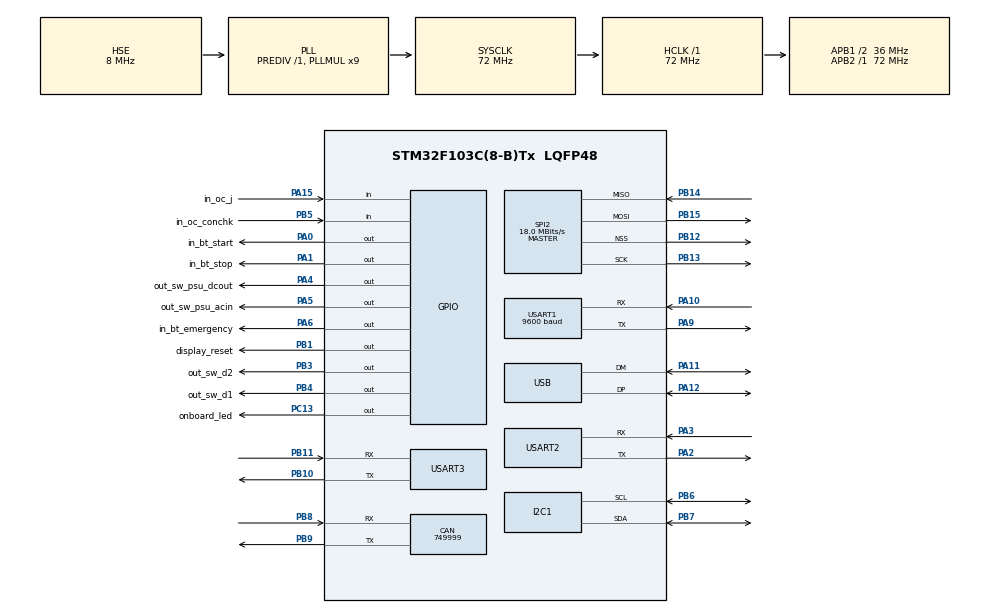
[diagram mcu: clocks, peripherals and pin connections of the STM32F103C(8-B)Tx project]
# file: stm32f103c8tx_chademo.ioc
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CAN.CalculateBaudRate=749999
CAN.CalculateTimeBit=1333
CAN.CalculateTimeQuantum=444.44444444444446
Mcu.Family=STM32F1
Mcu.Name=STM32F103C(8-B)Tx
Mcu.Package=LQFP48
NVIC.PriorityGroup=NVIC_PRIORITYGROUP_4
PA0-WKUP.GPIO_Label=in_bt_start
PA0-WKUP.Signal=GPIO_Output
PA1.GPIO_Label=in_bt_stop
PA1.Signal=GPIO_Output
PA10.GPIO_PuPd=GPIO_NOPULL
PA10.Mode=LIN
PA10.Signal=USART1_RX
PA11.Mode=Device
PA11.Signal=USB_DM
PA12.Mode=Device
PA12.Signal=USB_DP
PA13.Mode=Serial_Wire
PA13.Signal=SYS_JTMS-SWDIO
PA14.Mode=Serial_Wire
PA14.Signal=SYS_JTCK-SWCLK
PA15.GPIO_Label=in_oc_j
PA15.Signal=GPIO_Input
PA2.Mode=Asynchronous
PA2.Signal=USART2_TX
PA3.Mode=Asynchronous
PA3.Signal=USART2_RX
PA4.GPIO_Label=out_sw_psu_dcout
PA4.Signal=GPIO_Output
PA5.GPIO_Label=out_sw_psu_acin
PA5.Signal=GPIO_Output
PA6.GPIO_Label=in_bt_emergency
PA6.Signal=GPIO_Output
PA9.Mode=LIN
PA9.Signal=USART1_TX
PB1.GPIO_Label=display_reset
PB1.Signal=GPIO_Output
PB10.Mode=Asynchronous
PB10.Signal=USART3_TX
PB11.Mode=Asynchronous
PB11.Signal=USART3_RX
PB12.Mode=NSS_Signal_Hard_Output
PB12.Signal=SPI2_NSS
PB13.Mode=Full_Duplex_Master
PB13.Signal=SPI2_SCK
PB14.Mode=Full_Duplex_Master
PB14.Signal=SPI2_MISO
PB15.Mode=Full_Duplex_Master
PB15.Signal=SPI2_MOSI
PB3.GPIO_Label=out_sw_d2
PB3.Signal=GPIO_Output
PB4.GPIO_Label=out_sw_d1
PB4.Signal=GPIO_Output
PB5.GPIO_Label=in_oc_conchk
PB5.Signal=GPIO_Input
PB6.Mode=I2C
PB6.Signal=I2C1_SCL
PB7.Mode=I2C
PB7.Signal=I2C1_SDA
PB8.Mode=CAN_Activate
PB8.Signal=CAN_RX
PB9.Mode=CAN_Activate
PB9.Signal=CAN_TX
PC13-TAMPER-RTC.GPIO_Label=onboard_led
PC13-TAMPER-RTC.Signal=GPIO_Output
PD0-OSC_IN.Mode=HSE-External-Oscillator
PD0-OSC_IN.Signal=RCC_OSC_IN
PD1-OSC_OUT.Mode=HSE-External-Oscillator
PD1-OSC_OUT.Signal=RCC_OSC_OUT
ProjectManager.HeapSize=0x200
ProjectManager.StackSize=0x400
ProjectManager.TargetToolchain=Makefile
RCC.AHBFreq_Value=72000000
RCC.APB1CLKDivider=RCC_HCLK_DIV2
RCC.APB1Freq_Value=36000000
RCC.APB1TimFreq_Value=72000000
RCC.APB2Freq_Value=72000000
RCC.APB2TimFreq_Value=72000000
RCC.HCLKFreq_Value=72000000
RCC.PLLMUL=RCC_PLL_MUL9
RCC.PLLSourceVirtual=RCC_PLLSOURCE_HSE
RCC.SYSCLKFreq_VALUE=72000000
RCC.SYSCLKSource=RCC_SYSCLKSOURCE_PLLCLK
RCC.USBFreq_Value=48000000
RCC.USBPrescaler=RCC_USBCLKSOURCE_PLL_DIV1_5
SPI2.CalculateBaudRate=18.0 MBits/s
SPI2.Direction=SPI_DIRECTION_2LINES
SPI2.Mode=SPI_MODE_MASTER
SPI2.VirtualNSS=VM_NSSHARD
SPI2.VirtualType=VM_MASTER
USART1.BaudRate=9600
USART1.VirtualMode=VM_ASYNC
USART2.VirtualMode=VM_ASYNC
USART3.VirtualMode=VM_ASYNC
board=custom

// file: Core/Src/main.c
/* USER CODE BEGIN Header */
/**
  ******************************************************************************
  * @file           : main.c
  * @brief          : Main program body
  ******************************************************************************
  * @attention
  *
  * Copyright (c) 2025 STMicroelectronics.
  * All rights reserved.
  *
  * This software is licensed under terms that can be found in the LICENSE file
  * in the root directory of this software component.
  * If no LICENSE file comes with this software, it is provided AS-IS.
  *
  ******************************************************************************
  */
/* USER CODE END Header */
#include "main.h"

/* USER CODE BEGIN Includes */
#include <stdbool.h>
#include <stdio.h>

#include "SEGGER_RTT.h"
/* USER CODE END Includes */

CAN_HandleTypeDef hcan;

I2C_HandleTypeDef hi2c1;

SPI_HandleTypeDef hspi2;

UART_HandleTypeDef huart1;
UART_HandleTypeDef huart2;
UART_HandleTypeDef huart3;

PCD_HandleTypeDef hpcd_USB_FS;

void SystemClock_Config(void);
static void MX_GPIO_Init(void);
static void MX_USART1_UART_Init(void);
static void MX_USART2_UART_Init(void);
static void MX_I2C1_Init(void);
static void MX_USB_PCD_Init(void);
static void MX_CAN_Init(void);
static void MX_SPI2_Init(void);
static void MX_USART3_UART_Init(void);

int main(void)
{

  /* USER CODE BEGIN 1 */
  SEGGER_RTT_Init();
  /* USER CODE END 1 */

  /* MCU Configuration--------------------------------------------------------*/

  /* Reset of all peripherals, Initializes the Flash interface and the Systick. */
  HAL_Init();

  /* Configure the system clock */
  SystemClock_Config();

  /* Initialize all configured peripherals */
  MX_GPIO_Init();
  MX_USART1_UART_Init();
  MX_USART2_UART_Init();
  MX_I2C1_Init();
  MX_USB_PCD_Init();
  MX_CAN_Init();
  MX_SPI2_Init();
  MX_USART3_UART_Init();

  /* Infinite loop */
  /* USER CODE BEGIN WHILE */
  while (1)
  {
	static bool onbled = false;
	static uint16_t interval_1s = 0u;

	/*--- Time stuff begin ---*/
	static uint32_t prev_ms = 0u;
	uint32_t        cur_ms  = 0u;
	uint32_t        dt_ms   = 0u; /* Delta time */

	cur_ms = HAL_GetTick();
	dt_ms = cur_ms - prev_ms;
	prev_ms = cur_ms;
	/*--- Time stuff end ---*/

	/* --- exec with 1s interval begin --- */
	interval_1s += dt_ms;

	uint8_t c;

	if (HAL_UART_Receive(&huart1, &c, 1u, 0u) == HAL_OK) {
		putchar(c);
	}

	if (interval_1s >= 100u) {
		interval_1s = 0u;

		/*printf("Hello world! cur_ms: %lu, led: %s\n", cur_ms,
		       onbled ? "true" : "false");*/

		//HAL_GPIO_WritePin(onboard_led_GPIO_Port, onboard_led_Pin,
		//		  onbled ? GPIO_PIN_SET : GPIO_PIN_RESET);

		if(!__HAL_UART_GET_FLAG(&huart1, UART_FLAG_IDLE)) {
			ATOMIC_CLEAR_BIT(huart1.Instance->CR1, USART_CR1_RE); // Disable Receiver
			HAL_UART_Transmit(&huart1, "1234\n", 6u, 1000);
			while(__HAL_UART_GET_FLAG(&huart1, UART_FLAG_TC) == RESET); // Wait for physical end
			ATOMIC_SET_BIT(huart1.Instance->CR1, USART_CR1_RE); // Re-enable Receiver
			__HAL_UART_CLEAR_IDLEFLAG(&huart1);
		}

		onbled = !onbled;
	}
	/* --- exec with 1s interval end --- */

    /* USER CODE END WHILE */

  }
}

void SystemClock_Config(void)
{
  RCC_OscInitTypeDef RCC_OscInitStruct = {0};
  RCC_ClkInitTypeDef RCC_ClkInitStruct = {0};
  RCC_PeriphCLKInitTypeDef PeriphClkInit = {0};

  /** Initializes the RCC Oscillators according to the specified parameters
  * in the RCC_OscInitTypeDef structure.
  */
  RCC_OscInitStruct.OscillatorType = RCC_OSCILLATORTYPE_HSE;
  RCC_OscInitStruct.HSEState = RCC_HSE_ON;
  RCC_OscInitStruct.HSEPredivValue = RCC_HSE_PREDIV_DIV1;
  RCC_OscInitStruct.HSIState = RCC_HSI_ON;
  RCC_OscInitStruct.PLL.PLLState = RCC_PLL_ON;
  RCC_OscInitStruct.PLL.PLLSource = RCC_PLLSOURCE_HSE;
  RCC_OscInitStruct.PLL.PLLMUL = RCC_PLL_MUL9;
  if (HAL_RCC_OscConfig(&RCC_OscInitStruct) != HAL_OK)
  {
    Error_Handler();
  }

  /** Initializes the CPU, AHB and APB buses clocks
  */
  RCC_ClkInitStruct.ClockType = RCC_CLOCKTYPE_HCLK|RCC_CLOCKTYPE_SYSCLK
                              |RCC_CLOCKTYPE_PCLK1|RCC_CLOCKTYPE_PCLK2;
  RCC_ClkInitStruct.SYSCLKSource = RCC_SYSCLKSOURCE_PLLCLK;
  RCC_ClkInitStruct.AHBCLKDivider = RCC_SYSCLK_DIV1;
  RCC_ClkInitStruct.APB1CLKDivider = RCC_HCLK_DIV2;
  RCC_ClkInitStruct.APB2CLKDivider = RCC_HCLK_DIV1;

  if (HAL_RCC_ClockConfig(&RCC_ClkInitStruct, FLASH_LATENCY_2) != HAL_OK)
  {
    Error_Handler();
  }
  PeriphClkInit.PeriphClockSelection = RCC_PERIPHCLK_USB;
  PeriphClkInit.UsbClockSelection = RCC_USBCLKSOURCE_PLL_DIV1_5;
  if (HAL_RCCEx_PeriphCLKConfig(&PeriphClkInit) != HAL_OK)
  {
    Error_Handler();
  }
}

static void MX_CAN_Init(void)
{

  hcan.Instance = CAN1;
  hcan.Init.Prescaler = 16;
  hcan.Init.Mode = CAN_MODE_NORMAL;
  hcan.Init.SyncJumpWidth = CAN_SJW_1TQ;
  hcan.Init.TimeSeg1 = CAN_BS1_1TQ;
  hcan.Init.TimeSeg2 = CAN_BS2_1TQ;
  hcan.Init.TimeTriggeredMode = DISABLE;
  hcan.Init.AutoBusOff = DISABLE;
  hcan.Init.AutoWakeUp = DISABLE;
  hcan.Init.AutoRetransmission = DISABLE;
  hcan.Init.ReceiveFifoLocked = DISABLE;
  hcan.Init.TransmitFifoPriority = DISABLE;
  if (HAL_CAN_Init(&hcan) != HAL_OK)
  {
    Error_Handler();
  }

}

static void MX_I2C1_Init(void)
{

  hi2c1.Instance = I2C1;
  hi2c1.Init.ClockSpeed = 100000;
  hi2c1.Init.DutyCycle = I2C_DUTYCYCLE_2;
  hi2c1.Init.OwnAddress1 = 0;
  hi2c1.Init.AddressingMode = I2C_ADDRESSINGMODE_7BIT;
  hi2c1.Init.DualAddressMode = I2C_DUALADDRESS_DISABLE;
  hi2c1.Init.OwnAddress2 = 0;
  hi2c1.Init.GeneralCallMode = I2C_GENERALCALL_DISABLE;
  hi2c1.Init.NoStretchMode = I2C_NOSTRETCH_DISABLE;
  if (HAL_I2C_Init(&hi2c1) != HAL_OK)
  {
    Error_Handler();
  }

}

static void MX_SPI2_Init(void)
{

  /* SPI2 parameter configuration*/
  hspi2.Instance = SPI2;
  hspi2.Init.Mode = SPI_MODE_MASTER;
  hspi2.Init.Direction = SPI_DIRECTION_2LINES;
  hspi2.Init.DataSize = SPI_DATASIZE_8BIT;
  hspi2.Init.CLKPolarity = SPI_POLARITY_LOW;
  hspi2.Init.CLKPhase = SPI_PHASE_1EDGE;
  hspi2.Init.NSS = SPI_NSS_HARD_OUTPUT;
  hspi2.Init.BaudRatePrescaler = SPI_BAUDRATEPRESCALER_2;
  hspi2.Init.FirstBit = SPI_FIRSTBIT_MSB;
  hspi2.Init.TIMode = SPI_TIMODE_DISABLE;
  hspi2.Init.CRCCalculation = SPI_CRCCALCULATION_DISABLE;
  hspi2.Init.CRCPolynomial = 10;
  if (HAL_SPI_Init(&hspi2) != HAL_OK)
  {
    Error_Handler();
  }

}

static void MX_USART1_UART_Init(void)
{

  huart1.Instance = USART1;
  huart1.Init.BaudRate = 9600;
  huart1.Init.WordLength = UART_WORDLENGTH_8B;
  huart1.Init.StopBits = UART_STOPBITS_1;
  huart1.Init.Parity = UART_PARITY_NONE;
  huart1.Init.Mode = UART_MODE_TX_RX;
  huart1.Init.HwFlowCtl = UART_HWCONTROL_NONE;
  if (HAL_LIN_Init(&huart1, UART_LINBREAKDETECTLENGTH_10B) != HAL_OK)
  {
    Error_Handler();
  }

}

static void MX_USART2_UART_Init(void)
{

  huart2.Instance = USART2;
  huart2.Init.BaudRate = 115200;
  huart2.Init.WordLength = UART_WORDLENGTH_8B;
  huart2.Init.StopBits = UART_STOPBITS_1;
  huart2.Init.Parity = UART_PARITY_NONE;
  huart2.Init.Mode = UART_MODE_TX_RX;
  huart2.Init.HwFlowCtl = UART_HWCONTROL_NONE;
  huart2.Init.OverSampling = UART_OVERSAMPLING_16;
  if (HAL_UART_Init(&huart2) != HAL_OK)
  {
    Error_Handler();
  }

}

static void MX_USART3_UART_Init(void)
{

  huart3.Instance = USART3;
  huart3.Init.BaudRate = 115200;
  huart3.Init.WordLength = UART_WORDLENGTH_8B;
  huart3.Init.StopBits = UART_STOPBITS_1;
  huart3.Init.Parity = UART_PARITY_NONE;
  huart3.Init.Mode = UART_MODE_TX_RX;
  huart3.Init.HwFlowCtl = UART_HWCONTROL_NONE;
  huart3.Init.OverSampling = UART_OVERSAMPLING_16;
  if (HAL_UART_Init(&huart3) != HAL_OK)
  {
    Error_Handler();
  }

}

static void MX_USB_PCD_Init(void)
{

  hpcd_USB_FS.Instance = USB;
  hpcd_USB_FS.Init.dev_endpoints = 8;
  hpcd_USB_FS.Init.speed = PCD_SPEED_FULL;
  hpcd_USB_FS.Init.low_power_enable = DISABLE;
  hpcd_USB_FS.Init.lpm_enable = DISABLE;
  hpcd_USB_FS.Init.battery_charging_enable = DISABLE;
  if (HAL_PCD_Init(&hpcd_USB_FS) != HAL_OK)
  {
    Error_Handler();
  }

}

static void MX_GPIO_Init(void)
{
  GPIO_InitTypeDef GPIO_InitStruct = {0};

  /* GPIO Ports Clock Enable */
  __HAL_RCC_GPIOC_CLK_ENABLE();
  __HAL_RCC_GPIOD_CLK_ENABLE();
  __HAL_RCC_GPIOA_CLK_ENABLE();
  __HAL_RCC_GPIOB_CLK_ENABLE();

  /*Configure GPIO pin Output Level */
  HAL_GPIO_WritePin(onboard_led_GPIO_Port, onboard_led_Pin, GPIO_PIN_RESET);

  /*Configure GPIO pin Output Level */
  HAL_GPIO_WritePin(GPIOA, in_bt_start_Pin|in_bt_stop_Pin|out_sw_psu_dcout_Pin|out_sw_psu_acin_Pin
                          |in_bt_emergency_Pin, GPIO_PIN_RESET);

  /*Configure GPIO pin Output Level */
  HAL_GPIO_WritePin(GPIOB, display_reset_Pin|out_sw_d2_Pin|out_sw_d1_Pin, GPIO_PIN_RESET);

  /*Configure GPIO pin : onboard_led_Pin */
  GPIO_InitStruct.Pin = onboard_led_Pin;
  GPIO_InitStruct.Mode = GPIO_MODE_OUTPUT_PP;
  GPIO_InitStruct.Pull = GPIO_NOPULL;
  GPIO_InitStruct.Speed = GPIO_SPEED_FREQ_LOW;
  HAL_GPIO_Init(onboard_led_GPIO_Port, &GPIO_InitStruct);

  /*Configure GPIO pins : in_bt_start_Pin in_bt_stop_Pin out_sw_psu_dcout_Pin out_sw_psu_acin_Pin
                           in_bt_emergency_Pin */
  GPIO_InitStruct.Pin = in_bt_start_Pin|in_bt_stop_Pin|out_sw_psu_dcout_Pin|out_sw_psu_acin_Pin
                          |in_bt_emergency_Pin;
  GPIO_InitStruct.Mode = GPIO_MODE_OUTPUT_PP;
  GPIO_InitStruct.Pull = GPIO_NOPULL;
  GPIO_InitStruct.Speed = GPIO_SPEED_FREQ_LOW;
  HAL_GPIO_Init(GPIOA, &GPIO_InitStruct);

  /*Configure GPIO pins : display_reset_Pin out_sw_d2_Pin out_sw_d1_Pin */
  GPIO_InitStruct.Pin = display_reset_Pin|out_sw_d2_Pin|out_sw_d1_Pin;
  GPIO_InitStruct.Mode = GPIO_MODE_OUTPUT_PP;
  GPIO_InitStruct.Pull = GPIO_NOPULL;
  GPIO_InitStruct.Speed = GPIO_SPEED_FREQ_LOW;
  HAL_GPIO_Init(GPIOB, &GPIO_InitStruct);

  /*Configure GPIO pin : in_oc_j_Pin */
  GPIO_InitStruct.Pin = in_oc_j_Pin;
  GPIO_InitStruct.Mode = GPIO_MODE_INPUT;
  GPIO_InitStruct.Pull = GPIO_NOPULL;
  HAL_GPIO_Init(in_oc_j_GPIO_Port, &GPIO_InitStruct);

  /*Configure GPIO pin : in_oc_conchk_Pin */
  GPIO_InitStruct.Pin = in_oc_conchk_Pin;
  GPIO_InitStruct.Mode = GPIO_MODE_INPUT;
  GPIO_InitStruct.Pull = GPIO_NOPULL;
  HAL_GPIO_Init(in_oc_conchk_GPIO_Port, &GPIO_InitStruct);

}

void Error_Handler(void)
{
  __disable_irq();
  while (1)
  {
  }
}
